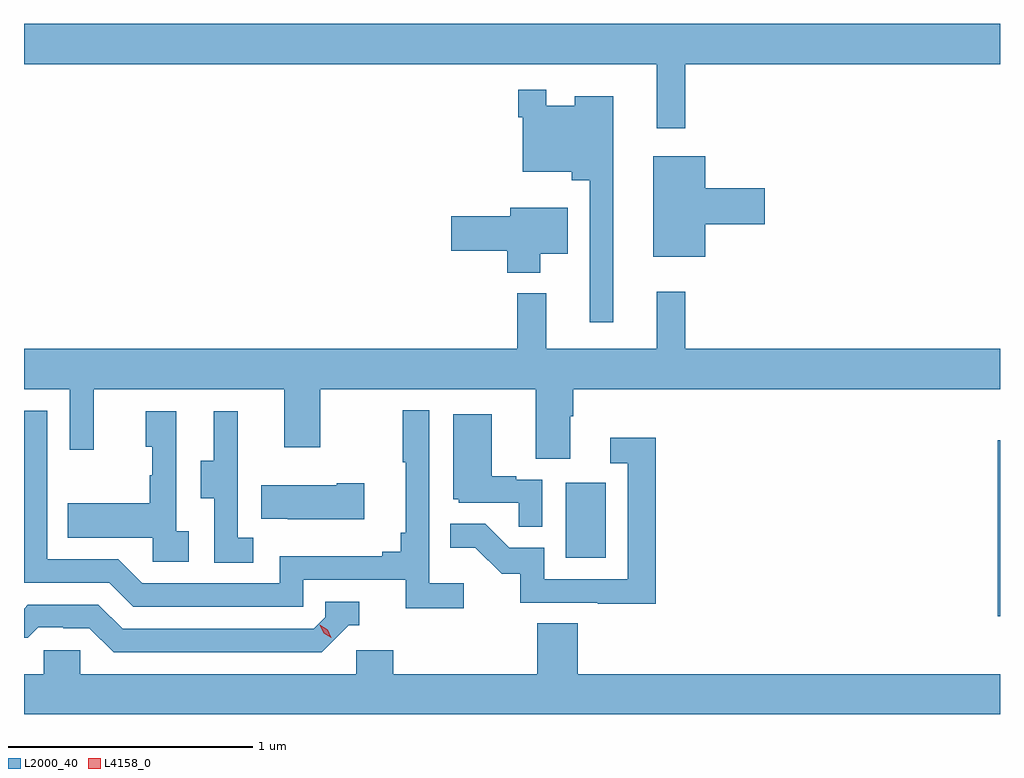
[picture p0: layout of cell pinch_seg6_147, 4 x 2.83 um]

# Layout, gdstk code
import gdstk
lib = gdstk.Library(unit=1e-6, precision=1e-09)
def R(c, l, rs):  # rectangles x0, y0, x1, y1
    for r in rs: c.add(gdstk.rectangle(r[:2], r[2:], *l))
def P(c, l, *ps):  # polygons
    for p in ps: c.add(gdstk.Polygon(p, *l))
L2000_40 = (2000, 40)
L4158_0 = (4158, 0)

pinch_seg6_147 = lib.new_cell('pinch_seg6_147')
R(pinch_seg6_147, L2000_40, [(964.112,922.428,964.121,923.149), (962.342,922.668,962.506,922.975)])
P(pinch_seg6_147, L2000_40, [(962.831,924.692),(964.121,924.692),(964.121,924.856),(960.121,924.856),(960.121,924.692),(962.714,924.692),(962.714,924.429),(962.831,924.429)],
  [(962.536,924.559),(962.378,924.559),(962.378,924.52),(962.262,924.52),(962.262,924.586),(962.146,924.586),(962.146,924.473),(962.166,924.473),(962.166,924.251),(962.366,924.251),(962.366,924.215),(962.439,924.215),(962.439,923.634),(962.536,923.634)],
  [(962.914,924.035),(963.157,924.035),(963.157,924.182),(962.914,924.182),(962.914,924.313),(962.699,924.313),(962.699,923.903),(962.914,923.903)],
  [(962.236,923.915),(962.35,923.915),(962.35,924.103),(962.114,924.103),(962.114,924.068),(961.872,924.068),(961.872,923.926),(962.102,923.926),(962.102,923.837),(962.236,923.837)],
  [(962.359,923.248),(962.372,923.248),(962.372,923.36),(964.121,923.36),(964.121,923.524),(962.831,923.524),(962.831,923.758),(962.714,923.758),(962.714,923.524),(962.261,923.524),(962.261,923.752),(962.143,923.752),(962.143,923.524),(960.121,923.524),(960.121,923.36),(960.309,923.36),(960.309,923.112),(960.407,923.112),(960.407,923.36),(961.187,923.36),(961.187,923.121),(961.335,923.121),(961.335,923.36),(962.219,923.36),(962.219,923.074),(962.359,923.074)],
  [(961.924,922.564),(961.782,922.564),(961.782,923.272),(961.674,923.272),(961.674,923.059),(961.685,923.059),(961.685,922.771),(961.666,922.771),(961.666,922.694),(961.589,922.694),(961.589,922.675),(961.17,922.675),(961.17,922.563),(960.606,922.563),(960.507,922.662),(960.216,922.662),(960.216,923.271),(960.121,923.271),(960.121,922.566),(960.47,922.566),(960.569,922.467),(961.266,922.467),(961.266,922.578),(961.685,922.578),(961.685,922.462),(961.924,922.462)],
  [(960.796,922.778),(960.744,922.778),(960.744,923.269),(960.62,923.269),(960.62,923.124),(960.646,923.124),(960.646,923.006),(960.636,923.006),(960.636,922.891),(960.301,922.891),(960.301,922.751),(960.648,922.751),(960.648,922.653),(960.796,922.653)],
  [(961.06,922.751),(960.996,922.751),(960.996,923.055),(960.998,923.055),(960.998,923.269),(960.899,923.269),(960.899,923.067),(960.845,923.067),(960.845,922.912),(960.9,922.912),(960.9,922.648),(961.06,922.648)],
  [(962.244,922.989),(962.138,922.989),(962.138,923.002),(962.038,923.002),(962.038,923.257),(961.88,923.257),(961.88,922.908),(961.902,922.908),(961.902,922.893),(962.149,922.893),(962.149,922.795),(962.244,922.795)],
  [(962.711,923.161),(962.523,923.161),(962.523,923.055),(962.595,923.055),(962.595,922.581),(962.253,922.581),(962.253,922.71),(962.109,922.71),(962.011,922.808),(961.867,922.808),(961.867,922.709),(961.971,922.709),(962.078,922.602),(962.155,922.602),(962.155,922.485),(962.473,922.485),(962.473,922.48),(962.711,922.48)],
  [(961.516,922.974),(961.403,922.974),(961.403,922.966),(961.093,922.966),(961.093,922.829),(961.201,922.829),(961.201,922.826),(961.516,922.826)],
  [(961.452,922.392),(961.495,922.392),(961.495,922.488),(961.356,922.488),(961.356,922.425),(961.308,922.377),(960.525,922.377),(960.426,922.476),(960.137,922.476),(960.121,922.46),(960.121,922.341),(960.137,922.341),(960.179,922.383),(960.282,922.383),(960.282,922.38),(960.389,922.38),(960.488,922.281),(961.341,922.281)],
  [(964.121,922.192),(962.39,922.192),(962.39,922.4),(962.225,922.4),(962.225,922.192),(961.634,922.192),(961.634,922.29),(961.482,922.29),(961.482,922.192),(960.351,922.192),(960.351,922.29),(960.201,922.29),(960.201,922.192),(960.121,922.192),(960.121,922.028),(964.121,922.028)])
P(pinch_seg6_147, L4158_0, [(961.381,922.34),(961.35,922.36),(961.334,922.392),(961.334,922.393),(961.334,922.393),(961.365,922.373),(961.381,922.341),(961.381,922.34)])

lib.write_gds('pinch_seg6_147.gds')
